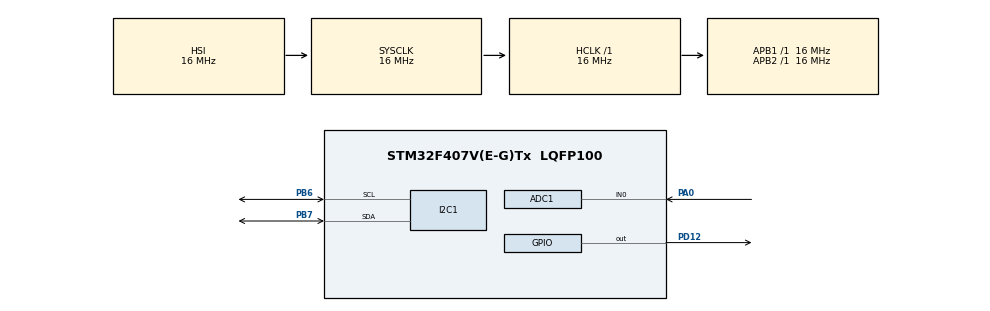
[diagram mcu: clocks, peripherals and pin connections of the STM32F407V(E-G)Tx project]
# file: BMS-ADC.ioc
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ADC1.Channel-1\#ChannelRegularConversion=ADC_CHANNEL_0
ADC1.NbrOfConversionFlag=1
ADC1.Rank-1\#ChannelRegularConversion=1
ADC1.SamplingTime-1\#ChannelRegularConversion=ADC_SAMPLETIME_480CYCLES
ADC1.master=1
I2C1.I2C_Mode=I2C_Fast
Mcu.Family=STM32F4
Mcu.Name=STM32F407V(E-G)Tx
Mcu.Package=LQFP100
NVIC.PriorityGroup=NVIC_PRIORITYGROUP_4
PA0-WKUP.Signal=ADCx_IN0
PB6.Mode=I2C
PB6.Signal=I2C1_SCL
PB7.Mode=I2C
PB7.Signal=I2C1_SDA
PD12.Signal=GPIO_Output
ProjectManager.HeapSize=0x200
ProjectManager.StackSize=0x400
ProjectManager.TargetToolchain=MDK-ARM V5.32
RCC.AHBFreq_Value=16000000
RCC.APB1Freq_Value=16000000
RCC.APB2Freq_Value=16000000
RCC.CortexFreq_Value=16000000
RCC.HSE_VALUE=25000000
RCC.HSI_VALUE=16000000
RCC.LSE_VALUE=32768
RCC.SYSCLKFreq_VALUE=16000000
RCC.VCOOutputFreq_Value=192000000
SH.ADCx_IN0.0=ADC1_IN0,IN0
board=custom

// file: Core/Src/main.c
/* USER CODE BEGIN Header */
/**
  ******************************************************************************
  * @file           : main.c
  * @brief          : Main program body
  ******************************************************************************
  * @attention
  *
  * Copyright (c) 2026 STMicroelectronics.
  * All rights reserved.
  *
  * This software is licensed under terms that can be found in the LICENSE file
  * in the root directory of this software component.
  * If no LICENSE file comes with this software, it is provided AS-IS.
  *
  ******************************************************************************
  */
/* USER CODE END Header */
#include "main.h"

/* USER CODE BEGIN Includes */
#include "stm32f4xx_hal_adc_ex.h"
#include "oled.h"
#include "ds18b20.h"

/* USER CODE END Includes */

ADC_HandleTypeDef hadc1;

I2C_HandleTypeDef hi2c1;

/* USER CODE BEGIN PV */
uint32_t adc_value=0;
float battery_voltage=0.0f;
float battery_temperature = 0.0f;

/* USER CODE END PV */

void SystemClock_Config(void);
static void MX_GPIO_Init(void);
static void MX_ADC1_Init(void);
static void MX_I2C1_Init(void);

/* USER CODE BEGIN 0 */
#include<stdio.h>

/* USER CODE END 0 */

int main(void)
{

  /* MCU Configuration--------------------------------------------------------*/

  /* Reset of all peripherals, Initializes the Flash interface and the Systick. */
  HAL_Init();

  /* Configure the system clock */
  SystemClock_Config();

  /* Initialize all configured peripherals */
  MX_GPIO_Init();
  MX_ADC1_Init();
  MX_I2C1_Init();
  /* USER CODE BEGIN 2 */
	for (int i = 0; i < 6; i++) {
    HAL_GPIO_TogglePin(GPIOD, GPIO_PIN_12);
    HAL_Delay(200);
}
OLED_Init();
DS18B20_Init();
for (int i = 0; i < 4; i++) {
    HAL_GPIO_TogglePin(GPIOD, GPIO_PIN_12);
    HAL_Delay(800);
}

  /* USER CODE END 2 */

  /* Infinite loop */
  while (1)
  {

    /* USER CODE BEGIN 3 */
		             // 采集电池电压
HAL_ADC_Start(&hadc1);
if (HAL_ADC_PollForConversion(&hadc1, 10) == HAL_OK) {
    adc_value = HAL_ADC_GetValue(&hadc1);
    battery_voltage = (adc_value * 3.3f / 4096.0f) * 4.687f;
}
HAL_ADC_Stop(&hadc1);

// 读取温度
battery_temperature = DS18B20_ReadTemp();

// 显示
OLED_Clear();
OLED_ShowString(0, "Voltage:");
OLED_ShowFloat(2, battery_voltage, 2);
OLED_ShowString(4, "Temp:");
OLED_ShowFloat(6, battery_temperature, 1);

HAL_Delay(1000);
  }
  /* USER CODE END 3 */
}

void SystemClock_Config(void)
{
  RCC_OscInitTypeDef RCC_OscInitStruct = {0};
  RCC_ClkInitTypeDef RCC_ClkInitStruct = {0};

  /** Configure the main internal regulator output voltage
  */
  __HAL_RCC_PWR_CLK_ENABLE();
  __HAL_PWR_VOLTAGESCALING_CONFIG(PWR_REGULATOR_VOLTAGE_SCALE1);

  /** Initializes the RCC Oscillators according to the specified parameters
  * in the RCC_OscInitTypeDef structure.
  */
  RCC_OscInitStruct.OscillatorType = RCC_OSCILLATORTYPE_HSI;
  RCC_OscInitStruct.HSIState = RCC_HSI_ON;
  RCC_OscInitStruct.HSICalibrationValue = RCC_HSICALIBRATION_DEFAULT;
  RCC_OscInitStruct.PLL.PLLState = RCC_PLL_NONE;
  if (HAL_RCC_OscConfig(&RCC_OscInitStruct) != HAL_OK)
  {
    Error_Handler();
  }

  /** Initializes the CPU, AHB and APB buses clocks
  */
  RCC_ClkInitStruct.ClockType = RCC_CLOCKTYPE_HCLK|RCC_CLOCKTYPE_SYSCLK
                              |RCC_CLOCKTYPE_PCLK1|RCC_CLOCKTYPE_PCLK2;
  RCC_ClkInitStruct.SYSCLKSource = RCC_SYSCLKSOURCE_HSI;
  RCC_ClkInitStruct.AHBCLKDivider = RCC_SYSCLK_DIV1;
  RCC_ClkInitStruct.APB1CLKDivider = RCC_HCLK_DIV1;
  RCC_ClkInitStruct.APB2CLKDivider = RCC_HCLK_DIV1;

  if (HAL_RCC_ClockConfig(&RCC_ClkInitStruct, FLASH_LATENCY_0) != HAL_OK)
  {
    Error_Handler();
  }
}

static void MX_ADC1_Init(void)
{

  ADC_ChannelConfTypeDef sConfig = {0};

  /** Configure the global features of the ADC (Clock, Resolution, Data Alignment and number of conversion)
  */
  hadc1.Instance = ADC1;
  hadc1.Init.ClockPrescaler = ADC_CLOCK_SYNC_PCLK_DIV2;
  hadc1.Init.Resolution = ADC_RESOLUTION_12B;
  hadc1.Init.ScanConvMode = DISABLE;
  hadc1.Init.ContinuousConvMode = DISABLE;
  hadc1.Init.DiscontinuousConvMode = DISABLE;
  hadc1.Init.ExternalTrigConvEdge = ADC_EXTERNALTRIGCONVEDGE_NONE;
  hadc1.Init.ExternalTrigConv = ADC_SOFTWARE_START;
  hadc1.Init.DataAlign = ADC_DATAALIGN_RIGHT;
  hadc1.Init.NbrOfConversion = 1;
  hadc1.Init.DMAContinuousRequests = DISABLE;
  hadc1.Init.EOCSelection = ADC_EOC_SINGLE_CONV;
  if (HAL_ADC_Init(&hadc1) != HAL_OK)
  {
    Error_Handler();
  }

  /** Configure for the selected ADC regular channel its corresponding rank in the sequencer and its sample time.
  */
  sConfig.Channel = ADC_CHANNEL_0;
  sConfig.Rank = 1;
  sConfig.SamplingTime = ADC_SAMPLETIME_480CYCLES;
  if (HAL_ADC_ConfigChannel(&hadc1, &sConfig) != HAL_OK)
  {
    Error_Handler();
  }

}

static void MX_I2C1_Init(void)
{

  hi2c1.Instance = I2C1;
  hi2c1.Init.ClockSpeed = 400000;
  hi2c1.Init.DutyCycle = I2C_DUTYCYCLE_2;
  hi2c1.Init.OwnAddress1 = 0;
  hi2c1.Init.AddressingMode = I2C_ADDRESSINGMODE_7BIT;
  hi2c1.Init.DualAddressMode = I2C_DUALADDRESS_DISABLE;
  hi2c1.Init.OwnAddress2 = 0;
  hi2c1.Init.GeneralCallMode = I2C_GENERALCALL_DISABLE;
  hi2c1.Init.NoStretchMode = I2C_NOSTRETCH_DISABLE;
  if (HAL_I2C_Init(&hi2c1) != HAL_OK)
  {
    Error_Handler();
  }

}

static void MX_GPIO_Init(void)
{
  GPIO_InitTypeDef GPIO_InitStruct = {0};

  /* GPIO Ports Clock Enable */
  __HAL_RCC_GPIOA_CLK_ENABLE();
  __HAL_RCC_GPIOD_CLK_ENABLE();
  __HAL_RCC_GPIOB_CLK_ENABLE();

  /*Configure GPIO pin Output Level */
  HAL_GPIO_WritePin(GPIOD, GPIO_PIN_12, GPIO_PIN_RESET);

  /*Configure GPIO pin : PD12 */
  GPIO_InitStruct.Pin = GPIO_PIN_12;
  GPIO_InitStruct.Mode = GPIO_MODE_OUTPUT_PP;
  GPIO_InitStruct.Pull = GPIO_NOPULL;
  GPIO_InitStruct.Speed = GPIO_SPEED_FREQ_LOW;
  HAL_GPIO_Init(GPIOD, &GPIO_InitStruct);

}

void Error_Handler(void)
{
  __disable_irq();
  while (1)
  {
  }
}
